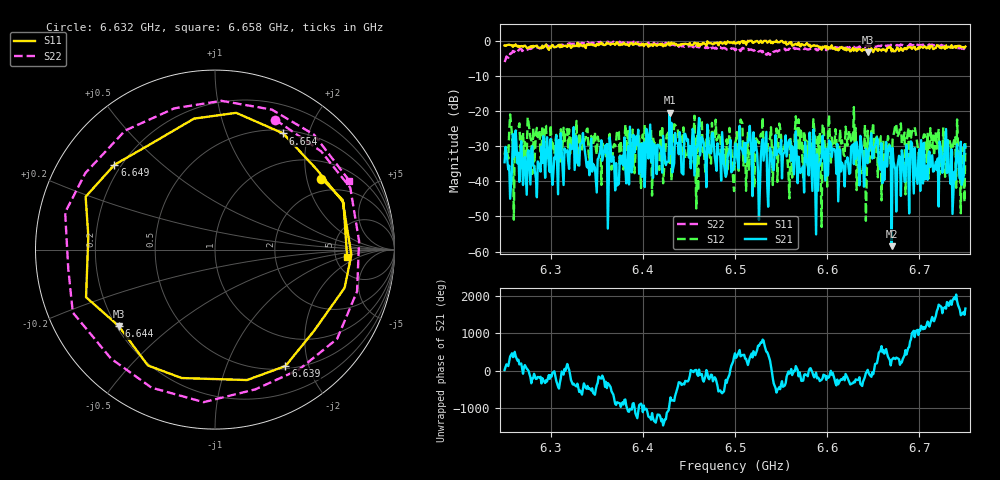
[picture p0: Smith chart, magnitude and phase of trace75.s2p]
# Hz S RI R 50
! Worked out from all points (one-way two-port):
!   401 points, 6.25 GHz to 6.75 GHz, reference 50 ohm
!   highest |S21| = -20.51 dB at 6.429 GHz (marker M1); lowest = -58.5 dB at 6.67 GHz (marker M2)
!   lowest |S11| = -3.3 dB at 6.644 GHz (marker M3), VSWR 5.35, Z = 10.4 - j16.7 ohm
!   |S11| at or under -10 dB: nowhere
!   |S22| runs from -6.1 to -0.2 dB; largest |S21 - S12| = 0.13
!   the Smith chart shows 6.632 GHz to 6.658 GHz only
!   S11 on the Smith chart (normalised r, x): 6.632 GHz: 1.52, +2.45; 6.639 GHz: 0.54, -1.64; 6.644 GHz: 0.21, -0.33; 6.649 GHz: 0.17, +0.36; 6.654 GHz: 0.54, +1.61; 6.658 GHz: 6.38, -1.20
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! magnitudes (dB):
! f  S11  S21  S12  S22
! 6.25 GHz  -1.3  -34.6  -32.4  -6.1
! 6.334 GHz  -1.4  -29.1  -30.9  -0.6
! 6.371 GHz  -0.8  -34.8  -28.5  -0.4
! 6.392 GHz  -0.6  -27.3  -32.0  -0.7
! 6.418 GHz  -1.1  -29.9  -36.8  -0.6
! 6.429 GHz  -1.3  -20.5  -34.8  -0.9
! 6.5 GHz  -0.8  -29.8  -29.0  -2.7
! 6.558 GHz  -0.9  -28.8  -37.6  -2.6
! 6.572 GHz  -0.9  -36.7  -26.2  -2.1
! 6.584 GHz  -1.4  -42.7  -31.5  -2.3
! 6.59 GHz  -1.6  -42.7  -27.0  -2.7
! 6.594 GHz  -2.6  -33.3  -53.0  -2.3
! 6.632 GHz  -2.9  -28.8  -42.5  -2.0
! 6.639 GHz  -2.4  -34.2  -37.0  -1.5
! 6.644 GHz  -3.3  -34.8  -25.6  -1.4
! 6.649 GHz  -2.7  -33.5  -25.9  -1.3
! 6.654 GHz  -2.5  -27.5  -27.2  -1.6
! 6.658 GHz  -2.6  -36.7  -27.1  -1.5
! 6.668 GHz  -1.7  -29.8  -31.8  -1.5
! 6.67 GHz  -3.0  -58.5  -36.9  -1.3
! 6.736 GHz  -2.0  -49.3  -30.3  -2.0
! 6.75 GHz  -1.7  -30.2  -29.1  -2.7
